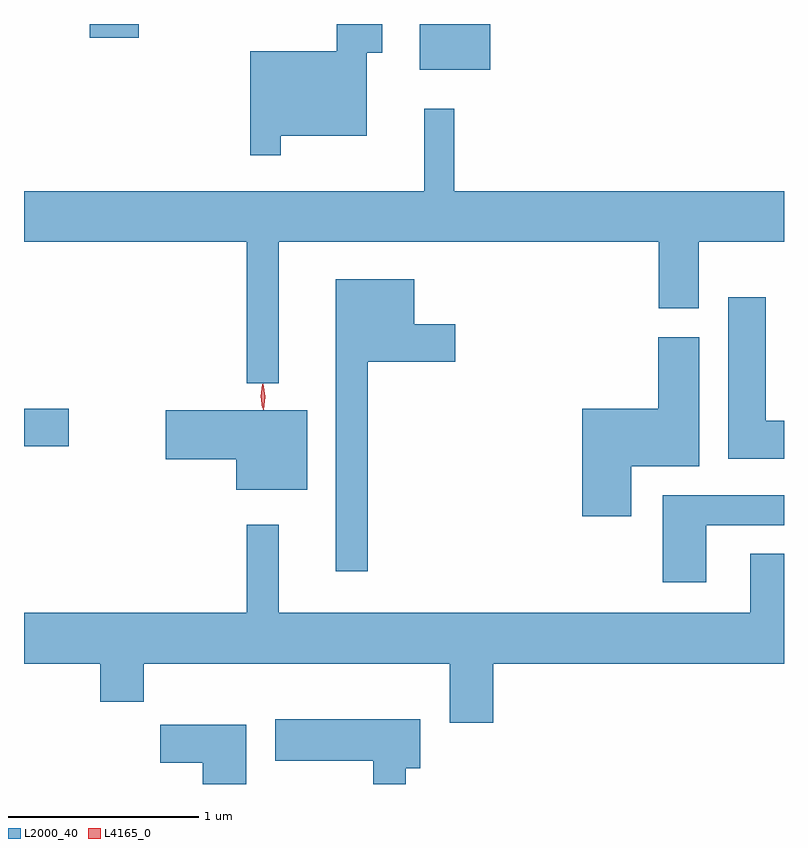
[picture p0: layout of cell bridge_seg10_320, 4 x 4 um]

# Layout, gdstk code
import gdstk
lib = gdstk.Library(unit=1e-6, precision=1e-09)
def R(c, l, rs):  # rectangles x0, y0, x1, y1
    for r in rs: c.add(gdstk.rectangle(r[:2], r[2:], *l))
def P(c, l, *ps):  # polygons
    for p in ps: c.add(gdstk.Polygon(p, *l))
L2000_40 = (2000, 40)
L4165_0 = (4165, 0)

bridge_seg10_320 = lib.new_cell('bridge_seg10_320')
R(bridge_seg10_320, L2000_40, [(1315.669,2157.241,1315.904,2157.439), (1317.751,2159.221,1318.124,2159.463), (1316.016,2159.391,1316.274,2159.463)])
P(bridge_seg10_320, L2000_40, [(1317.019,2158.876),(1317.474,2158.876),(1317.474,2159.311),(1317.554,2159.311),(1317.554,2159.463),(1317.316,2159.463),(1317.316,2159.319),(1316.861,2159.319),(1316.861,2158.773),(1317.019,2158.773)],
  [(1317.009,2158.316),(1319.011,2158.316),(1319.011,2157.966),(1319.219,2157.966),(1319.219,2158.316),(1319.669,2158.316),(1319.669,2158.584),(1317.934,2158.584),(1317.934,2159.018),(1317.776,2159.018),(1317.776,2158.584),(1315.669,2158.584),(1315.669,2158.316),(1316.841,2158.316),(1316.841,2157.573),(1317.009,2157.573)],
  [(1317.479,2157.686),(1317.939,2157.686),(1317.939,2157.884),(1317.724,2157.884),(1317.724,2158.119),(1317.311,2158.119),(1317.311,2156.583),(1317.479,2156.583)],
  [(1319.669,2157.374),(1319.574,2157.374),(1319.574,2158.024),(1319.376,2158.024),(1319.376,2157.176),(1319.669,2157.176)],
  [(1318.864,2157.136),(1319.224,2157.136),(1319.224,2157.814),(1319.006,2157.814),(1319.006,2157.439),(1318.606,2157.439),(1318.606,2156.871),(1318.864,2156.871)],
  [(1317.159,2157.429),(1316.416,2157.429),(1316.416,2157.171),(1316.786,2157.171),(1316.786,2157.011),(1317.159,2157.011)],
  [(1319.259,2156.826),(1319.669,2156.826),(1319.669,2156.984),(1319.031,2156.984),(1319.031,2156.526),(1319.259,2156.526)],
  [(1318.139,2156.096),(1319.669,2156.096),(1319.669,2156.674),(1319.491,2156.674),(1319.491,2156.364),(1317.009,2156.364),(1317.009,2156.828),(1316.841,2156.828),(1316.841,2156.364),(1315.669,2156.364),(1315.669,2156.096),(1316.071,2156.096),(1316.071,2155.896),(1316.299,2155.896),(1316.299,2156.096),(1317.911,2156.096),(1317.911,2155.786),(1318.139,2155.786)],
  [(1317.679,2155.546),(1317.754,2155.546),(1317.754,2155.804),(1316.991,2155.804),(1316.991,2155.586),(1317.506,2155.586),(1317.506,2155.463),(1317.679,2155.463)],
  [(1316.839,2155.774),(1316.386,2155.774),(1316.386,2155.576),(1316.611,2155.576),(1316.611,2155.463),(1316.839,2155.463)])
P(bridge_seg10_320, L4165_0, [(1316.929,2157.434),(1316.929,2157.434),(1316.919,2157.502),(1316.928,2157.57),(1316.928,2157.57),(1316.929,2157.57),(1316.939,2157.502),(1316.93,2157.434)],
  [(1316.923,2157.44),(1316.923,2157.441),(1316.914,2157.504),(1316.924,2157.566),(1316.925,2157.567),(1316.926,2157.566),(1316.934,2157.504),(1316.924,2157.441)])

lib.write_gds('bridge_seg10_320.gds')
